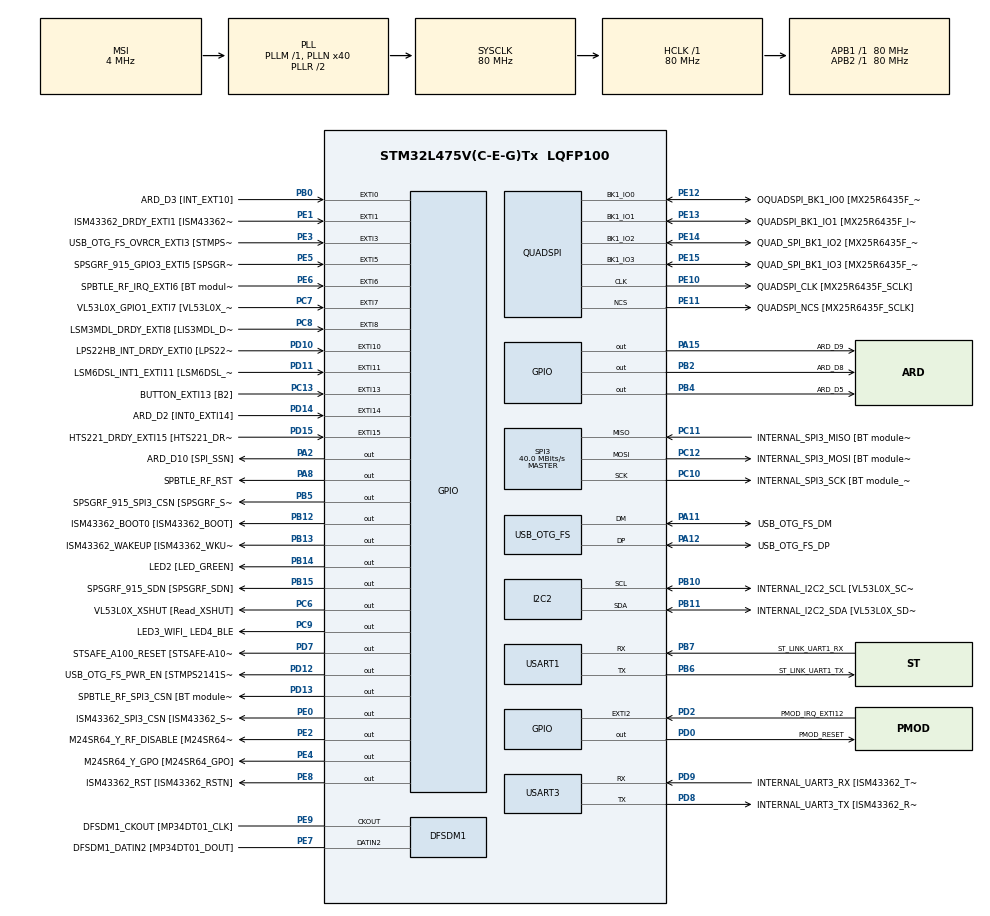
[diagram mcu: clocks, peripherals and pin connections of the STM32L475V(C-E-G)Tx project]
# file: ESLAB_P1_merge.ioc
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FREERTOS.Queues01=Task_Queue,16,uint16_t,0,Dynamic,NULL,NULL
FREERTOS.Tasks01=defaultTask,24,128,StartDefaultTask,Default,NULL,Dynamic,NULL,NULL
FREERTOS.Timers01=Periodic_Blink,Callback01,osTimerPeriodic,Default,NULL,Dynamic,NULL;Long_Press_Detection,Callback02,osTimerOnce,Default,NULL,Dynamic,NULL
Mcu.Family=STM32L4
Mcu.Name=STM32L475V(C-E-G)Tx
Mcu.Package=LQFP100
NVIC.EXTI15_10_IRQn=true\:5\:0\:false\:false\:true\:true\:true\:true\:true
NVIC.EXTI9_5_IRQn=true\:5\:0\:false\:false\:true\:true\:true\:true\:true
NVIC.PriorityGroup=NVIC_PRIORITYGROUP_4
PA0.GPIO_Label=ARD_D1 [UART4_TX]
PA0.Signal=UART4_TX
PA1.GPIO_Label=ARD_D0 [UART4_RX]
PA1.Signal=UART4_RX
PA10.GPIO_Label=USB_OTG_FS_ID
PA10.Signal=USB_OTG_FS_ID
PA11.GPIO_Label=USB_OTG_FS_DM
PA11.Mode=Device_Only
PA11.Signal=USB_OTG_FS_DM
PA12.GPIO_Label=USB_OTG_FS_DP
PA12.Mode=Device_Only
PA12.Signal=USB_OTG_FS_DP
PA13\ (JTMS-SWDIO).GPIO_Label=SYS_JTMS_SWDIO
PA13\ (JTMS-SWDIO).Mode=Serial_Wire
PA13\ (JTMS-SWDIO).Signal=SYS_JTMS-SWDIO
PA14\ (JTCK-SWCLK).GPIO_Label=SYS_JTCK_SWCLK
PA14\ (JTCK-SWCLK).Mode=Serial_Wire
PA14\ (JTCK-SWCLK).Signal=SYS_JTCK-SWCLK
PA15\ (JTDI).GPIO_Label=ARD_D9
PA15\ (JTDI).Signal=GPIO_Output
PA2.GPIO_Label=ARD_D10 [SPI_SSN]
PA2.Signal=GPIO_Output
PA3.GPIO_Label=ARD_D4
PA3.Signal=S_TIM2_CH4
PA4.GPIO_Label=ARD_D7
PA4.Signal=ADCx_IN9
PA5.GPIO_Label=ARD_D13 [SPI1_SCK]
PA5.Signal=SPI1_SCK
PA6.GPIO_Label=ARD_D12 [SPI1_MISO]
PA6.Signal=SPI1_MISO
PA7.GPIO_Label=ARD_D11 [SPI1_MOSI]
PA7.Signal=SPI1_MOSI
PA8.GPIO_Label=SPBTLE_RF_RST
PA8.Signal=GPIO_Output
PA9.GPIO_Label=USB_OTG_FS_VBUS [STMPS2141STR_OUT]
PA9.Signal=USB_OTG_FS_VBUS
PB0.GPIO_Label=ARD_D3 [INT_EXT10]
PB0.Signal=GPXTI0
PB1.GPIO_Label=ARD_D6 [ADC1_IN6]
PB1.Signal=ADCx_IN16
PB10.GPIO_Label=INTERNAL_I2C2_SCL [VL53L0X_SCL]
PB10.GPIO_Pu=GPIO_PULLUP
PB10.Mode=I2C
PB10.Signal=I2C2_SCL
PB11.GPIO_Label=INTERNAL_I2C2_SDA [VL53L0X_SDA]
PB11.GPIO_Pu=GPIO_PULLUP
PB11.Mode=I2C
PB11.Signal=I2C2_SDA
PB12.GPIO_Label=ISM43362_BOOT0 [ISM43362_BOOT]
PB12.Signal=GPIO_Output
PB13.GPIO_Label=ISM43362_WAKEUP [ISM43362_WKUP]
PB13.Signal=GPIO_Output
PB14.GPIO_Label=LED2 [LED_GREEN]
PB14.Signal=GPIO_Output
PB15.GPIO_Label=SPSGRF_915_SDN [SPSGRF_SDN]
PB15.Signal=GPIO_Output
PB2.GPIO_Label=ARD_D8
PB2.Signal=GPIO_Output
PB3\ (JTDO-TRACESWO).GPIO_Label=SYS_JTD0_SWO
PB3\ (JTDO-TRACESWO).Signal=SYS_JTDO-SWO
PB4\ (NJTRST).GPIO_Label=ARD_D5
PB4\ (NJTRST).Signal=GPIO_Output
PB5.GPIO_Label=SPSGRF_915_SPI3_CSN [SPSGRF_SPI_CS]
PB5.PinState=GPIO_PIN_SET
PB5.Signal=GPIO_Output
PB6.GPIO_Label=ST_LINK_UART1_TX
PB6.Mode=Asynchronous
PB6.Signal=USART1_TX
PB7.GPIO_Label=ST_LINK_UART1_RX
PB7.Mode=Asynchronous
PB7.Signal=USART1_RX
PB8.GPIO_Label=ARD_D15 [I2C1_SCL]
PB8.Signal=I2C1_SCL
PB9.GPIO_Label=ARD_D14 [I2C1_SDA]
PB9.Signal=I2C1_SDA
PC0.GPIO_Label=ARD_A5 [ADC]
PC0.Signal=ADCx_IN1
PC1.GPIO_Label=ARD_A4 [ADC]
PC1.Signal=ADCx_IN2
PC10.GPIO_Label=INTERNAL_SPI3_SCK [BT module_SPI_SCLK] [ISM43362_SCK]
PC10.Mode=Full_Duplex_Master
PC10.Signal=SPI3_SCK
PC11.GPIO_Label=INTERNAL_SPI3_MISO [BT module_SPI_MISO] [ISM43362_MISO]
PC11.Mode=Full_Duplex_Master
PC11.Signal=SPI3_MISO
PC12.GPIO_Label=INTERNAL_SPI3_MOSI [BT module_SPI_MOSI] [ISM43362_MOSI]
PC12.Mode=Full_Duplex_Master
PC12.Signal=SPI3_MOSI
PC13.GPIO_Label=BUTTON_EXTI13 [B2]
PC13.GPIO_ModeDefaultEXTI=GPIO_MODE_IT_RISING_FALLING
PC13.Signal=GPXTI13
PC14-OSC32_IN\ (PC14).Mode=LSE-External-Oscillator
PC14-OSC32_IN\ (PC14).Signal=RCC_OSC32_IN
PC15-OSC32_OUT\ (PC15).Mode=LSE-External-Oscillator
PC15-OSC32_OUT\ (PC15).Signal=RCC_OSC32_OUT
PC2.GPIO_Label=ARD_A3 [ADC]
PC2.Signal=ADCx_IN3
PC3.GPIO_Label=ARD_A2 [ADC]
PC3.Signal=ADCx_IN4
PC4.GPIO_Label=ARD_A1 [ADC]
PC4.Signal=ADCx_IN13
PC5.GPIO_Label=ARD_A0 [ADC]
PC5.Signal=ADCx_IN14
PC6.GPIO_Label=VL53L0X_XSHUT [Read_XSHUT]
PC6.Signal=GPIO_Output
PC7.GPIO_Label=VL53L0X_GPIO1_EXTI7 [VL53L0X_GPIO1]
PC7.Signal=GPXTI7
PC8.GPIO_Label=LSM3MDL_DRDY_EXTI8 [LIS3MDL_DRDY]
PC8.Signal=GPXTI8
PC9.GPIO_Label=LED3_WIFI_ LED4_BLE
PC9.Signal=GPIO_Output
PD0.GPIO_Label=PMOD_RESET
PD0.Signal=GPIO_Output
PD1.GPIO_Label=PMOD_SPI2_SCK
PD1.Signal=SPI2_SCK
PD10.GPIO_Label=LPS22HB_INT_DRDY_EXTI0 [LPS22HB_INT_DRDY] 
PD10.Signal=GPXTI10
PD11.GPIO_Label=LSM6DSL_INT1_EXTI11 [LSM6DSL_INT1]
PD11.Signal=GPXTI11
PD12.GPIO_Label=USB_OTG_FS_PWR_EN [STMPS2141STR_EN]
PD12.Signal=GPIO_Output
PD13.GPIO_Label=SPBTLE_RF_SPI3_CSN [BT module_SPI_CS]
PD13.PinState=GPIO_PIN_SET
PD13.Signal=GPIO_Output
PD14.GPIO_Label=ARD_D2 [INT0_EXTI14]
PD14.Signal=GPXTI14
PD15.GPIO_Label=HTS221_DRDY_EXTI15 [HTS221_DRDY]
PD15.Signal=GPXTI15
PD2.GPIO_Label=PMOD_IRQ_EXTI12
PD2.Signal=GPXTI2
PD3.GPIO_Label=PMOD_UART2_CTS
PD3.Signal=USART2_CTS
PD4.GPIO_Label=PMOD_UART2_RTS
PD4.Signal=USART2_RTS
PD5.GPIO_Label=PMOD_UART2_TX
PD5.Signal=USART2_TX
PD6.GPIO_Label=PMOD_UART2_RX
PD6.Signal=USART2_RX
PD7.GPIO_Label=STSAFE_A100_RESET [STSAFE-A100_RESET]
PD7.Signal=GPIO_Output
PD8.GPIO_Label=INTERNAL_UART3_TX [ISM43362_RX]
PD8.Mode=Asynchronous
PD8.Signal=USART3_TX
PD9.GPIO_Label=INTERNAL_UART3_RX [ISM43362_TX]
PD9.Mode=Asynchronous
PD9.Signal=USART3_RX
PE0.GPIO_Label=ISM43362_SPI3_CSN [ISM43362_SSN]
PE0.PinState=GPIO_PIN_SET
PE0.Signal=GPIO_Output
PE1.GPIO_Label=ISM43362_DRDY_EXTI1 [ISM43362_DATARDY]
PE1.Signal=GPXTI1
PE10.GPIO_Label=QUADSPI_CLK [MX25R6435F_SCLK]
PE10.Mode=Single Bank
PE10.Signal=QUADSPI_CLK
PE11.GPIO_Label=QUADSPI_NCS [MX25R6435F_SCLK]
PE11.Mode=Single Bank
PE11.Signal=QUADSPI_NCS
PE12.GPIO_Label=OQUADSPI_BK1_IO0 [MX25R6435F_IO0]
PE12.Mode=Single Bank
PE12.Signal=QUADSPI_BK1_IO0
PE13.GPIO_Label=QUADSPI_BK1_IO1 [MX25R6435F_IO1]
PE13.Mode=Single Bank
PE13.Signal=QUADSPI_BK1_IO1
PE14.GPIO_Label=QUAD_SPI_BK1_IO2 [MX25R6435F_IO2]
PE14.Mode=Single Bank
PE14.Signal=QUADSPI_BK1_IO2
PE15.GPIO_Label=QUAD_SPI_BK1_IO3 [MX25R6435F_IO3]
PE15.Mode=Single Bank
PE15.Signal=QUADSPI_BK1_IO3
PE2.GPIO_Label=M24SR64_Y_RF_DISABLE [M24SR64_RFDIS]
PE2.Signal=GPIO_Output
PE3.GPIO_Label=USB_OTG_FS_OVRCR_EXTI3 [STMPS2141STR_FAULT]
PE3.Signal=GPXTI3
PE4.GPIO_Label=M24SR64_Y_GPO [M24SR64_GPO]
PE4.Signal=GPIO_Output
PE5.GPIO_Label=SPSGRF_915_GPIO3_EXTI5 [SPSGRF_GPIO_3]
PE5.Signal=GPXTI5
PE6.GPIO_Label=SPBTLE_RF_IRQ_EXTI6 [BT module_SPI_IRQ]
PE6.Signal=GPXTI6
PE7.GPIO_Label=DFSDM1_DATIN2 [MP34DT01_DOUT]
PE7.Signal=S_DATAIN2DFSDM1
PE8.GPIO_Label=ISM43362_RST [ISM43362_RSTN]
PE8.Signal=GPIO_Output
PE9.GPIO_Label=DFSDM1_CKOUT [MP34DT01_CLK]
PE9.Signal=S_CKOUTDFSDM1
ProjectManager.HeapSize=0x200
ProjectManager.StackSize=0x400
ProjectManager.TargetToolchain=STM32CubeIDE
QUADSPI.ClockPrescaler=2
QUADSPI.FifoThreshold=4
QUADSPI.FlashSize=23
QUADSPI.SampleShifting=QSPI_SAMPLE_SHIFTING_HALFCYCLE
RCC.ADCFreq_Value=48000000
RCC.AHBFreq_Value=80000000
RCC.APB1Freq_Value=80000000
RCC.APB1TimFreq_Value=80000000
RCC.APB2Freq_Value=80000000
RCC.APB2TimFreq_Value=80000000
RCC.CortexFreq_Value=80000000
RCC.HCLKFreq_Value=80000000
RCC.HSE_VALUE=8000000
RCC.HSI_VALUE=16000000
RCC.MSI_VALUE=4000000
RCC.PLLN=40
RCC.PLLSAI1N=24
RCC.SYSCLKFreq_VALUE=80000000
RCC.SYSCLKSource=RCC_SYSCLKSOURCE_PLLCLK
RCC.USBFreq_Value=48000000
RCC.VCOOutputFreq_Value=160000000
SH.ADCx_IN1.0=ADC1_IN1
SH.ADCx_IN13.0=ADC1_IN13
SH.ADCx_IN14.0=ADC1_IN14
SH.ADCx_IN16.0=ADC1_IN16
SH.ADCx_IN2.0=ADC1_IN2
SH.ADCx_IN3.0=ADC1_IN3
SH.ADCx_IN4.0=ADC1_IN4
SH.ADCx_IN9.0=ADC1_IN9
SH.S_CKOUTDFSDM1.0=DFSDM1_CKOUT,CKOUT
SH.S_CKOUTDFSDM1.1=DFSDM1_CKOUT,PDM_SPI_Input_from_ch12_and_Internal_Clock
SH.S_DATAIN2DFSDM1.0=DFSDM1_DATIN2,PDM_SPI_Input_from_ch12_and_Internal_Clock
SH.S_TIM2_CH4.0=TIM2_CH4
SPI3.CalculateBaudRate=40.0 MBits/s
SPI3.Direction=SPI_DIRECTION_2LINES
SPI3.Mode=SPI_MODE_MASTER
SPI3.VirtualType=VM_MASTER
USART1.VirtualMode-Asynchronous=VM_ASYNC
USART3.VirtualMode-Asynchronous=VM_ASYNC
USB_OTG_FS.VirtualMode=Device_Only
VP_FREERTOS_VS_CMSIS_V2.Mode=CMSIS_V2
board=B-L475E-IOT01A2

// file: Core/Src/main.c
/* USER CODE BEGIN Header */
/**
  ******************************************************************************
  * @file           : main.c
  * @brief          : Main program body
  ******************************************************************************
  * @attention
  *
  * Copyright (c) 2025 STMicroelectronics.
  * All rights reserved.
  *
  * This software is licensed under terms that can be found in the LICENSE file
  * in the root directory of this software component.
  * If no LICENSE file comes with this software, it is provided AS-IS.
  *
  ******************************************************************************
  */
/* USER CODE END Header */
#include "main.h"
#include "cmsis_os.h"

DFSDM_Channel_HandleTypeDef hdfsdm1_channel1;

I2C_HandleTypeDef hi2c2;

QSPI_HandleTypeDef hqspi;

SPI_HandleTypeDef hspi3;

UART_HandleTypeDef huart1;
UART_HandleTypeDef huart3;

PCD_HandleTypeDef hpcd_USB_OTG_FS;

/* Definitions for defaultTask */
osThreadId_t defaultTaskHandle;
const osThreadAttr_t defaultTask_attributes = {
  .name = "defaultTask",
  .stack_size = 128 * 4,
  .priority = (osPriority_t) osPriorityNormal,
};
/* Definitions for Task_Queue */
osMessageQueueId_t Task_QueueHandle;
const osMessageQueueAttr_t Task_Queue_attributes = {
  .name = "Task_Queue"
};
/* Definitions for Periodic_Blink */
osTimerId_t Periodic_BlinkHandle;
const osTimerAttr_t Periodic_Blink_attributes = {
  .name = "Periodic_Blink"
};
/* Definitions for Long_Press_Detection */
osTimerId_t Long_Press_DetectionHandle;
const osTimerAttr_t Long_Press_Detection_attributes = {
  .name = "Long_Press_Detection"
};
/* USER CODE BEGIN PV */

typedef struct {                                // object data type
  uint8_t Buf[32];
  uint8_t Idx;
} MSGQUEUE_OBJ_t;

/* USER CODE END PV */

void SystemClock_Config(void);
static void MX_GPIO_Init(void);
static void MX_DFSDM1_Init(void);
static void MX_I2C2_Init(void);
static void MX_QUADSPI_Init(void);
static void MX_SPI3_Init(void);
static void MX_USART1_UART_Init(void);
static void MX_USART3_UART_Init(void);
static void MX_USB_OTG_FS_PCD_Init(void);
void StartDefaultTask(void *argument);
void Callback01(void *argument);
void Callback02(void *argument);

static int rising_falling;
uint32_t presstime;
uint32_t releasetime;

int main(void)
{
	rising_falling = 0;

  /* MCU Configuration--------------------------------------------------------*/

  /* Reset of all peripherals, Initializes the Flash interface and the Systick. */
  HAL_Init();

  /* Configure the system clock */
  SystemClock_Config();

  /* Initialize all configured peripherals */
  MX_GPIO_Init();
  MX_DFSDM1_Init();
  MX_I2C2_Init();
  MX_QUADSPI_Init();
  MX_SPI3_Init();
  MX_USART1_UART_Init();
  MX_USART3_UART_Init();
  MX_USB_OTG_FS_PCD_Init();

  /* Init scheduler */
  osKernelInitialize();

  /* Create the timer(s) */
  /* creation of Periodic_Blink */
  Periodic_BlinkHandle = osTimerNew(Callback01, osTimerPeriodic, NULL, &Periodic_Blink_attributes);

  /* creation of Long_Press_Detection */
  Long_Press_DetectionHandle = osTimerNew(Callback02, osTimerOnce, NULL, &Long_Press_Detection_attributes);

  /* Create the queue(s) */
  /* creation of Task_Queue */
  Task_QueueHandle = osMessageQueueNew (16, sizeof(uint16_t), &Task_Queue_attributes);

  /* Create the thread(s) */
  /* creation of defaultTask */
  defaultTaskHandle = osThreadNew(StartDefaultTask, NULL, &defaultTask_attributes);

  /* Start scheduler */
  osKernelStart();

  /* We should never get here as control is now taken by the scheduler */

  /* Infinite loop */
  while (1)
  {

  }
}

void SystemClock_Config(void)
{
  RCC_OscInitTypeDef RCC_OscInitStruct = {0};
  RCC_ClkInitTypeDef RCC_ClkInitStruct = {0};

  /** Configure the main internal regulator output voltage
  */
  if (HAL_PWREx_ControlVoltageScaling(PWR_REGULATOR_VOLTAGE_SCALE1) != HAL_OK)
  {
    Error_Handler();
  }

  /** Configure LSE Drive Capability
  */
  HAL_PWR_EnableBkUpAccess();
  __HAL_RCC_LSEDRIVE_CONFIG(RCC_LSEDRIVE_LOW);

  /** Initializes the RCC Oscillators according to the specified parameters
  * in the RCC_OscInitTypeDef structure.
  */
  RCC_OscInitStruct.OscillatorType = RCC_OSCILLATORTYPE_LSE|RCC_OSCILLATORTYPE_MSI;
  RCC_OscInitStruct.LSEState = RCC_LSE_ON;
  RCC_OscInitStruct.MSIState = RCC_MSI_ON;
  RCC_OscInitStruct.MSICalibrationValue = 0;
  RCC_OscInitStruct.MSIClockRange = RCC_MSIRANGE_6;
  RCC_OscInitStruct.PLL.PLLState = RCC_PLL_ON;
  RCC_OscInitStruct.PLL.PLLSource = RCC_PLLSOURCE_MSI;
  RCC_OscInitStruct.PLL.PLLM = 1;
  RCC_OscInitStruct.PLL.PLLN = 40;
  RCC_OscInitStruct.PLL.PLLP = RCC_PLLP_DIV7;
  RCC_OscInitStruct.PLL.PLLQ = RCC_PLLQ_DIV2;
  RCC_OscInitStruct.PLL.PLLR = RCC_PLLR_DIV2;
  if (HAL_RCC_OscConfig(&RCC_OscInitStruct) != HAL_OK)
  {
    Error_Handler();
  }

  /** Initializes the CPU, AHB and APB buses clocks
  */
  RCC_ClkInitStruct.ClockType = RCC_CLOCKTYPE_HCLK|RCC_CLOCKTYPE_SYSCLK
                              |RCC_CLOCKTYPE_PCLK1|RCC_CLOCKTYPE_PCLK2;
  RCC_ClkInitStruct.SYSCLKSource = RCC_SYSCLKSOURCE_PLLCLK;
  RCC_ClkInitStruct.AHBCLKDivider = RCC_SYSCLK_DIV1;
  RCC_ClkInitStruct.APB1CLKDivider = RCC_HCLK_DIV1;
  RCC_ClkInitStruct.APB2CLKDivider = RCC_HCLK_DIV1;

  if (HAL_RCC_ClockConfig(&RCC_ClkInitStruct, FLASH_LATENCY_4) != HAL_OK)
  {
    Error_Handler();
  }

  /** Enable MSI Auto calibration
  */
  HAL_RCCEx_EnableMSIPLLMode();
}

static void MX_DFSDM1_Init(void)
{

  hdfsdm1_channel1.Instance = DFSDM1_Channel1;
  hdfsdm1_channel1.Init.OutputClock.Activation = ENABLE;
  hdfsdm1_channel1.Init.OutputClock.Selection = DFSDM_CHANNEL_OUTPUT_CLOCK_SYSTEM;
  hdfsdm1_channel1.Init.OutputClock.Divider = 2;
  hdfsdm1_channel1.Init.Input.Multiplexer = DFSDM_CHANNEL_EXTERNAL_INPUTS;
  hdfsdm1_channel1.Init.Input.DataPacking = DFSDM_CHANNEL_STANDARD_MODE;
  hdfsdm1_channel1.Init.Input.Pins = DFSDM_CHANNEL_FOLLOWING_CHANNEL_PINS;
  hdfsdm1_channel1.Init.SerialInterface.Type = DFSDM_CHANNEL_SPI_RISING;
  hdfsdm1_channel1.Init.SerialInterface.SpiClock = DFSDM_CHANNEL_SPI_CLOCK_INTERNAL;
  hdfsdm1_channel1.Init.Awd.FilterOrder = DFSDM_CHANNEL_FASTSINC_ORDER;
  hdfsdm1_channel1.Init.Awd.Oversampling = 1;
  hdfsdm1_channel1.Init.Offset = 0;
  hdfsdm1_channel1.Init.RightBitShift = 0x00;
  if (HAL_DFSDM_ChannelInit(&hdfsdm1_channel1) != HAL_OK)
  {
    Error_Handler();
  }

}

static void MX_I2C2_Init(void)
{

  hi2c2.Instance = I2C2;
  hi2c2.Init.Timing = 0x00000E14;
  hi2c2.Init.OwnAddress1 = 0;
  hi2c2.Init.AddressingMode = I2C_ADDRESSINGMODE_7BIT;
  hi2c2.Init.DualAddressMode = I2C_DUALADDRESS_DISABLE;
  hi2c2.Init.OwnAddress2 = 0;
  hi2c2.Init.OwnAddress2Masks = I2C_OA2_NOMASK;
  hi2c2.Init.GeneralCallMode = I2C_GENERALCALL_DISABLE;
  hi2c2.Init.NoStretchMode = I2C_NOSTRETCH_DISABLE;
  if (HAL_I2C_Init(&hi2c2) != HAL_OK)
  {
    Error_Handler();
  }

  /** Configure Analogue filter
  */
  if (HAL_I2CEx_ConfigAnalogFilter(&hi2c2, I2C_ANALOGFILTER_ENABLE) != HAL_OK)
  {
    Error_Handler();
  }

  /** Configure Digital filter
  */
  if (HAL_I2CEx_ConfigDigitalFilter(&hi2c2, 0) != HAL_OK)
  {
    Error_Handler();
  }

}

static void MX_QUADSPI_Init(void)
{

  /* QUADSPI parameter configuration*/
  hqspi.Instance = QUADSPI;
  hqspi.Init.ClockPrescaler = 2;
  hqspi.Init.FifoThreshold = 4;
  hqspi.Init.SampleShifting = QSPI_SAMPLE_SHIFTING_HALFCYCLE;
  hqspi.Init.FlashSize = 23;
  hqspi.Init.ChipSelectHighTime = QSPI_CS_HIGH_TIME_1_CYCLE;
  hqspi.Init.ClockMode = QSPI_CLOCK_MODE_0;
  if (HAL_QSPI_Init(&hqspi) != HAL_OK)
  {
    Error_Handler();
  }

}

static void MX_SPI3_Init(void)
{

  /* SPI3 parameter configuration*/
  hspi3.Instance = SPI3;
  hspi3.Init.Mode = SPI_MODE_MASTER;
  hspi3.Init.Direction = SPI_DIRECTION_2LINES;
  hspi3.Init.DataSize = SPI_DATASIZE_4BIT;
  hspi3.Init.CLKPolarity = SPI_POLARITY_LOW;
  hspi3.Init.CLKPhase = SPI_PHASE_1EDGE;
  hspi3.Init.NSS = SPI_NSS_SOFT;
  hspi3.Init.BaudRatePrescaler = SPI_BAUDRATEPRESCALER_2;
  hspi3.Init.FirstBit = SPI_FIRSTBIT_MSB;
  hspi3.Init.TIMode = SPI_TIMODE_DISABLE;
  hspi3.Init.CRCCalculation = SPI_CRCCALCULATION_DISABLE;
  hspi3.Init.CRCPolynomial = 7;
  hspi3.Init.CRCLength = SPI_CRC_LENGTH_DATASIZE;
  hspi3.Init.NSSPMode = SPI_NSS_PULSE_ENABLE;
  if (HAL_SPI_Init(&hspi3) != HAL_OK)
  {
    Error_Handler();
  }

}

static void MX_USART1_UART_Init(void)
{

  huart1.Instance = USART1;
  huart1.Init.BaudRate = 115200;
  huart1.Init.WordLength = UART_WORDLENGTH_8B;
  huart1.Init.StopBits = UART_STOPBITS_1;
  huart1.Init.Parity = UART_PARITY_NONE;
  huart1.Init.Mode = UART_MODE_TX_RX;
  huart1.Init.HwFlowCtl = UART_HWCONTROL_NONE;
  huart1.Init.OverSampling = UART_OVERSAMPLING_16;
  huart1.Init.OneBitSampling = UART_ONE_BIT_SAMPLE_DISABLE;
  huart1.AdvancedInit.AdvFeatureInit = UART_ADVFEATURE_NO_INIT;
  if (HAL_UART_Init(&huart1) != HAL_OK)
  {
    Error_Handler();
  }

}

static void MX_USART3_UART_Init(void)
{

  huart3.Instance = USART3;
  huart3.Init.BaudRate = 115200;
  huart3.Init.WordLength = UART_WORDLENGTH_8B;
  huart3.Init.StopBits = UART_STOPBITS_1;
  huart3.Init.Parity = UART_PARITY_NONE;
  huart3.Init.Mode = UART_MODE_TX_RX;
  huart3.Init.HwFlowCtl = UART_HWCONTROL_NONE;
  huart3.Init.OverSampling = UART_OVERSAMPLING_16;
  huart3.Init.OneBitSampling = UART_ONE_BIT_SAMPLE_DISABLE;
  huart3.AdvancedInit.AdvFeatureInit = UART_ADVFEATURE_NO_INIT;
  if (HAL_UART_Init(&huart3) != HAL_OK)
  {
    Error_Handler();
  }

}

static void MX_USB_OTG_FS_PCD_Init(void)
{

  hpcd_USB_OTG_FS.Instance = USB_OTG_FS;
  hpcd_USB_OTG_FS.Init.dev_endpoints = 6;
  hpcd_USB_OTG_FS.Init.speed = PCD_SPEED_FULL;
  hpcd_USB_OTG_FS.Init.phy_itface = PCD_PHY_EMBEDDED;
  hpcd_USB_OTG_FS.Init.Sof_enable = DISABLE;
  hpcd_USB_OTG_FS.Init.low_power_enable = DISABLE;
  hpcd_USB_OTG_FS.Init.lpm_enable = DISABLE;
  hpcd_USB_OTG_FS.Init.battery_charging_enable = DISABLE;
  hpcd_USB_OTG_FS.Init.use_dedicated_ep1 = DISABLE;
  hpcd_USB_OTG_FS.Init.vbus_sensing_enable = DISABLE;
  if (HAL_PCD_Init(&hpcd_USB_OTG_FS) != HAL_OK)
  {
    Error_Handler();
  }

}

static void MX_GPIO_Init(void)
{
  GPIO_InitTypeDef GPIO_InitStruct = {0};

  /* GPIO Ports Clock Enable */
  __HAL_RCC_GPIOE_CLK_ENABLE();
  __HAL_RCC_GPIOC_CLK_ENABLE();
  __HAL_RCC_GPIOA_CLK_ENABLE();
  __HAL_RCC_GPIOB_CLK_ENABLE();
  __HAL_RCC_GPIOD_CLK_ENABLE();

  /*Configure GPIO pin Output Level */
  HAL_GPIO_WritePin(GPIOE, M24SR64_Y_RF_DISABLE_Pin|M24SR64_Y_GPO_Pin|ISM43362_RST_Pin, GPIO_PIN_RESET);

  /*Configure GPIO pin Output Level */
  HAL_GPIO_WritePin(GPIOA, ARD_D10_Pin|SPBTLE_RF_RST_Pin|ARD_D9_Pin, GPIO_PIN_RESET);

  /*Configure GPIO pin Output Level */
  HAL_GPIO_WritePin(GPIOB, ARD_D8_Pin|ISM43362_BOOT0_Pin|ISM43362_WAKEUP_Pin|LED2_Pin
                          |SPSGRF_915_SDN_Pin|ARD_D5_Pin, GPIO_PIN_RESET);

  /*Configure GPIO pin Output Level */
  HAL_GPIO_WritePin(GPIOD, USB_OTG_FS_PWR_EN_Pin|PMOD_RESET_Pin|STSAFE_A100_RESET_Pin, GPIO_PIN_RESET);

  /*Configure GPIO pin Output Level */
  HAL_GPIO_WritePin(SPBTLE_RF_SPI3_CSN_GPIO_Port, SPBTLE_RF_SPI3_CSN_Pin, GPIO_PIN_SET);

  /*Configure GPIO pin Output Level */
  HAL_GPIO_WritePin(GPIOC, VL53L0X_XSHUT_Pin|LED3_WIFI__LED4_BLE_Pin, GPIO_PIN_RESET);

  /*Configure GPIO pin Output Level */
  HAL_GPIO_WritePin(SPSGRF_915_SPI3_CSN_GPIO_Port, SPSGRF_915_SPI3_CSN_Pin, GPIO_PIN_SET);

  /*Configure GPIO pin Output Level */
  HAL_GPIO_WritePin(ISM43362_SPI3_CSN_GPIO_Port, ISM43362_SPI3_CSN_Pin, GPIO_PIN_SET);

  /*Configure GPIO pins : M24SR64_Y_RF_DISABLE_Pin M24SR64_Y_GPO_Pin ISM43362_RST_Pin ISM43362_SPI3_CSN_Pin */
  GPIO_InitStruct.Pin = M24SR64_Y_RF_DISABLE_Pin|M24SR64_Y_GPO_Pin|ISM43362_RST_Pin|ISM43362_SPI3_CSN_Pin;
  GPIO_InitStruct.Mode = GPIO_MODE_OUTPUT_PP;
  GPIO_InitStruct.Pull = GPIO_NOPULL;
  GPIO_InitStruct.Speed = GPIO_SPEED_FREQ_LOW;
  HAL_GPIO_Init(GPIOE, &GPIO_InitStruct);

  /*Configure GPIO pins : USB_OTG_FS_OVRCR_EXTI3_Pin SPSGRF_915_GPIO3_EXTI5_Pin SPBTLE_RF_IRQ_EXTI6_Pin ISM43362_DRDY_EXTI1_Pin */
  GPIO_InitStruct.Pin = USB_OTG_FS_OVRCR_EXTI3_Pin|SPSGRF_915_GPIO3_EXTI5_Pin|SPBTLE_RF_IRQ_EXTI6_Pin|ISM43362_DRDY_EXTI1_Pin;
  GPIO_InitStruct.Mode = GPIO_MODE_IT_RISING;
  GPIO_InitStruct.Pull = GPIO_NOPULL;
  HAL_GPIO_Init(GPIOE, &GPIO_InitStruct);

  /*Configure GPIO pin : BUTTON_EXTI13_Pin */
  GPIO_InitStruct.Pin = BUTTON_EXTI13_Pin;
  GPIO_InitStruct.Mode = GPIO_MODE_IT_RISING_FALLING;
  GPIO_InitStruct.Pull = GPIO_PULLUP;
  HAL_GPIO_Init(BUTTON_EXTI13_GPIO_Port, &GPIO_InitStruct);

  /*Configure GPIO pins : ARD_A5_Pin ARD_A4_Pin ARD_A3_Pin ARD_A2_Pin
                           ARD_A1_Pin ARD_A0_Pin */
  GPIO_InitStruct.Pin = ARD_A5_Pin|ARD_A4_Pin|ARD_A3_Pin|ARD_A2_Pin
                          |ARD_A1_Pin|ARD_A0_Pin;
  GPIO_InitStruct.Mode = GPIO_MODE_ANALOG_ADC_CONTROL;
  GPIO_InitStruct.Pull = GPIO_NOPULL;
  HAL_GPIO_Init(GPIOC, &GPIO_InitStruct);

  /*Configure GPIO pins : ARD_D1_Pin ARD_D0_Pin */
  GPIO_InitStruct.Pin = ARD_D1_Pin|ARD_D0_Pin;
  GPIO_InitStruct.Mode = GPIO_MODE_AF_PP;
  GPIO_InitStruct.Pull = GPIO_NOPULL;
  GPIO_InitStruct.Speed = GPIO_SPEED_FREQ_VERY_HIGH;
  GPIO_InitStruct.Alternate = GPIO_AF8_UART4;
  HAL_GPIO_Init(GPIOA, &GPIO_InitStruct);

  /*Configure GPIO pins : ARD_D10_Pin SPBTLE_RF_RST_Pin ARD_D9_Pin */
  GPIO_InitStruct.Pin = ARD_D10_Pin|SPBTLE_RF_RST_Pin|ARD_D9_Pin;
  GPIO_InitStruct.Mode = GPIO_MODE_OUTPUT_PP;
  GPIO_InitStruct.Pull = GPIO_NOPULL;
  GPIO_InitStruct.Speed = GPIO_SPEED_FREQ_LOW;
  HAL_GPIO_Init(GPIOA, &GPIO_InitStruct);

  /*Configure GPIO pin : ARD_D4_Pin */
  GPIO_InitStruct.Pin = ARD_D4_Pin;
  GPIO_InitStruct.Mode = GPIO_MODE_AF_PP;
  GPIO_InitStruct.Pull = GPIO_NOPULL;
  GPIO_InitStruct.Speed = GPIO_SPEED_FREQ_LOW;
  GPIO_InitStruct.Alternate = GPIO_AF1_TIM2;
  HAL_GPIO_Init(ARD_D4_GPIO_Port, &GPIO_InitStruct);

  /*Configure GPIO pin : ARD_D7_Pin */
  GPIO_InitStruct.Pin = ARD_D7_Pin;
  GPIO_InitStruct.Mode = GPIO_MODE_ANALOG_ADC_CONTROL;
  GPIO_InitStruct.Pull = GPIO_NOPULL;
  HAL_GPIO_Init(ARD_D7_GPIO_Port, &GPIO_InitStruct);

  /*Configure GPIO pins : ARD_D13_Pin ARD_D12_Pin ARD_D11_Pin */
  GPIO_InitStruct.Pin = ARD_D13_Pin|ARD_D12_Pin|ARD_D11_Pin;
  GPIO_InitStruct.Mode = GPIO_MODE_AF_PP;
  GPIO_InitStruct.Pull = GPIO_NOPULL;
  GPIO_InitStruct.Speed = GPIO_SPEED_FREQ_VERY_HIGH;
  GPIO_InitStruct.Alternate = GPIO_AF5_SPI1;
  HAL_GPIO_Init(GPIOA, &GPIO_InitStruct);

  /*Configure GPIO pin : ARD_D3_Pin */
  GPIO_InitStruct.Pin = ARD_D3_Pin;
  GPIO_InitStruct.Mode = GPIO_MODE_IT_RISING;
  GPIO_InitStruct.Pull = GPIO_NOPULL;
  HAL_GPIO_Init(ARD_D3_GPIO_Port, &GPIO_InitStruct);

  /*Configure GPIO pin : ARD_D6_Pin */
  GPIO_InitStruct.Pin = ARD_D6_Pin;
  GPIO_InitStruct.Mode = GPIO_MODE_ANALOG_ADC_CONTROL;
  GPIO_InitStruct.Pull = GPIO_NOPULL;
  HAL_GPIO_Init(ARD_D6_GPIO_Port, &GPIO_InitStruct);

  /*Configure GPIO pins : ARD_D8_Pin ISM43362_BOOT0_Pin ISM43362_WAKEUP_Pin LED2_Pin
                           SPSGRF_915_SDN_Pin ARD_D5_Pin SPSGRF_915_SPI3_CSN_Pin */
  GPIO_InitStruct.Pin = ARD_D8_Pin|ISM43362_BOOT0_Pin|ISM43362_WAKEUP_Pin|LED2_Pin
                          |SPSGRF_915_SDN_Pin|ARD_D5_Pin|SPSGRF_915_SPI3_CSN_Pin;
  GPIO_InitStruct.Mode = GPIO_MODE_OUTPUT_PP;
  GPIO_InitStruct.Pull = GPIO_NOPULL;
  GPIO_InitStruct.Speed = GPIO_SPEED_FREQ_LOW;
  HAL_GPIO_Init(GPIOB, &GPIO_InitStruct);

  /*Configure GPIO pins : LPS22HB_INT_DRDY_EXTI0_Pin LSM6DSL_INT1_EXTI11_Pin ARD_D2_Pin HTS221_DRDY_EXTI15_Pin
                           PMOD_IRQ_EXTI12_Pin */
  GPIO_InitStruct.Pin = LPS22HB_INT_DRDY_EXTI0_Pin|LSM6DSL_INT1_EXTI11_Pin|ARD_D2_Pin|HTS221_DRDY_EXTI15_Pin
                          |PMOD_IRQ_EXTI12_Pin;
  GPIO_InitStruct.Mode = GPIO_MODE_IT_RISING;
  GPIO_InitStruct.Pull = GPIO_NOPULL;
  HAL_GPIO_Init(GPIOD, &GPIO_InitStruct);

  /*Configure GPIO pins : USB_OTG_FS_PWR_EN_Pin SPBTLE_RF_SPI3_CSN_Pin PMOD_RESET_Pin STSAFE_A100_RESET_Pin */
  GPIO_InitStruct.Pin = USB_OTG_FS_PWR_EN_Pin|SPBTLE_RF_SPI3_CSN_Pin|PMOD_RESET_Pin|STSAFE_A100_RESET_Pin;
  GPIO_InitStruct.Mode = GPIO_MODE_OUTPUT_PP;
  GPIO_InitStruct.Pull = GPIO_NOPULL;
  GPIO_InitStruct.Speed = GPIO_SPEED_FREQ_LOW;
  HAL_GPIO_Init(GPIOD, &GPIO_InitStruct);

  /*Configure GPIO pins : VL53L0X_XSHUT_Pin LED3_WIFI__LED4_BLE_Pin */
  GPIO_InitStruct.Pin = VL53L0X_XSHUT_Pin|LED3_WIFI__LED4_BLE_Pin;
  GPIO_InitStruct.Mode = GPIO_MODE_OUTPUT_PP;
  GPIO_InitStruct.Pull = GPIO_NOPULL;
  GPIO_InitStruct.Speed = GPIO_SPEED_FREQ_LOW;
  HAL_GPIO_Init(GPIOC, &GPIO_InitStruct);

  /*Configure GPIO pins : VL53L0X_GPIO1_EXTI7_Pin LSM3MDL_DRDY_EXTI8_Pin */
  GPIO_InitStruct.Pin = VL53L0X_GPIO1_EXTI7_Pin|LSM3MDL_DRDY_EXTI8_Pin;
  GPIO_InitStruct.Mode = GPIO_MODE_IT_RISING;
  GPIO_InitStruct.Pull = GPIO_NOPULL;
  HAL_GPIO_Init(GPIOC, &GPIO_InitStruct);

  /*Configure GPIO pin : PMOD_SPI2_SCK_Pin */
  GPIO_InitStruct.Pin = PMOD_SPI2_SCK_Pin;
  GPIO_InitStruct.Mode = GPIO_MODE_AF_PP;
  GPIO_InitStruct.Pull = GPIO_NOPULL;
  GPIO_InitStruct.Speed = GPIO_SPEED_FREQ_VERY_HIGH;
  GPIO_InitStruct.Alternate = GPIO_AF5_SPI2;
  HAL_GPIO_Init(PMOD_SPI2_SCK_GPIO_Port, &GPIO_InitStruct);

  /*Configure GPIO pins : PMOD_UART2_CTS_Pin PMOD_UART2_RTS_Pin PMOD_UART2_TX_Pin PMOD_UART2_RX_Pin */
  GPIO_InitStruct.Pin = PMOD_UART2_CTS_Pin|PMOD_UART2_RTS_Pin|PMOD_UART2_TX_Pin|PMOD_UART2_RX_Pin;
  GPIO_InitStruct.Mode = GPIO_MODE_AF_PP;
  GPIO_InitStruct.Pull = GPIO_NOPULL;
  GPIO_InitStruct.Speed = GPIO_SPEED_FREQ_VERY_HIGH;
  GPIO_InitStruct.Alternate = GPIO_AF7_USART2;
  HAL_GPIO_Init(GPIOD, &GPIO_InitStruct);

  /*Configure GPIO pins : ARD_D15_Pin ARD_D14_Pin */
  GPIO_InitStruct.Pin = ARD_D15_Pin|ARD_D14_Pin;
  GPIO_InitStruct.Mode = GPIO_MODE_AF_OD;
  GPIO_InitStruct.Pull = GPIO_NOPULL;
  GPIO_InitStruct.Speed = GPIO_SPEED_FREQ_VERY_HIGH;
  GPIO_InitStruct.Alternate = GPIO_AF4_I2C1;
  HAL_GPIO_Init(GPIOB, &GPIO_InitStruct);

  /* EXTI interrupt init*/
  HAL_NVIC_SetPriority(EXTI9_5_IRQn, 5, 0);
  HAL_NVIC_EnableIRQ(EXTI9_5_IRQn);

  HAL_NVIC_SetPriority(EXTI15_10_IRQn, 5, 0);
  HAL_NVIC_EnableIRQ(EXTI15_10_IRQn);

}

/* USER CODE BEGIN 4 */
void HAL_GPIO_EXTI_Callback(uint16_t GPIO_Pin)
{
	/* Prevent unused argument(s) compilation warning */
	switch(GPIO_Pin)
	{
	case BUTTON_EXTI13_Pin: // assume PRESS = FALLING
//		if(HAL_GPIO_ReadPin(GPIOB, BUTTON_EXTI13_Pin) == GPIO_PIN_SET){
//			// release
//			HAL_GPIO_TogglePin(GPIOB, LED2_Pin);
//		}
//		else{
//			//press
//			HAL_GPIO_TogglePin(GPIOB, LED2_Pin);
//
//		}
		rising_falling++;
		if(rising_falling%2){
//			osTimerStart(Long_Press_DetectionHandle, 1000);
			presstime = HAL_GetTick();
		}
		else{
			rising_falling = 0;
//			if(osTimerIsRunning(Long_Press_DetectionHandle)){
			releasetime = HAL_GetTick();
			if(releasetime - presstime < 1000){
				// within 1 second
				MSGQUEUE_OBJ_t msg;
				msg.Buf[0] = 1;
				osMessageQueuePut(Task_QueueHandle, &msg, 0U, 0U);
			}
			else{
				// over 1 second
				MSGQUEUE_OBJ_t msg;
				msg.Buf[0] = 2;
				osMessageQueuePut(Task_QueueHandle, &msg, 0U, 0U);
			}
		}
		break;
	default:
		break;
	}
}
/* USER CODE END 4 */

void StartDefaultTask(void *argument)
{
  /* USER CODE BEGIN 5 */
  /* Infinite loop */
	osTimerStart(Periodic_BlinkHandle, 10000);
	MSGQUEUE_OBJ_t msg;
	for(;;)
  {
	  osMessageQueueGet(Task_QueueHandle, &msg, NULL, osWaitForever);
	  if(msg.Buf[0] == 0){
		  // Task 2
		  for(int i = 0; i < 40; i++){
			HAL_GPIO_TogglePin(GPIOB, LED2_Pin);
			osDelay(50);
		}
	  }
	  else if(msg.Buf[0] == 1){
		  // Short Press
		  for(int i = 0; i < 10; i++){
			HAL_GPIO_TogglePin(GPIOB, LED2_Pin);
			osDelay(500);
		   }
	  }
	  else if(msg.Buf[0] == 2){
		  // Long Press
		  for(int i = 0; i < 100; i++){
			HAL_GPIO_TogglePin(GPIOB, LED2_Pin);
			osDelay(50);
		   }
	  }
	  else{
		  // what dafuq????
	  }
  }
  /* USER CODE END 5 */
}

/* Callback01 function */
void Callback01(void *argument)
{
	// 10 sec timer
	MSGQUEUE_OBJ_t msg;
	msg.Buf[0] = 0;
  /* USER CODE BEGIN Callback01 */
	osMessageQueuePut(Task_QueueHandle, &msg, 0U, 0U);
  /* USER CODE END Callback01 */
}

/* Callback02 function */
void Callback02(void *argument)
{
  /* USER CODE BEGIN Callback02 */
	// long press
  /* USER CODE END Callback02 */
}

void Error_Handler(void)
{
  __disable_irq();
  while (1)
  {
  }
}
